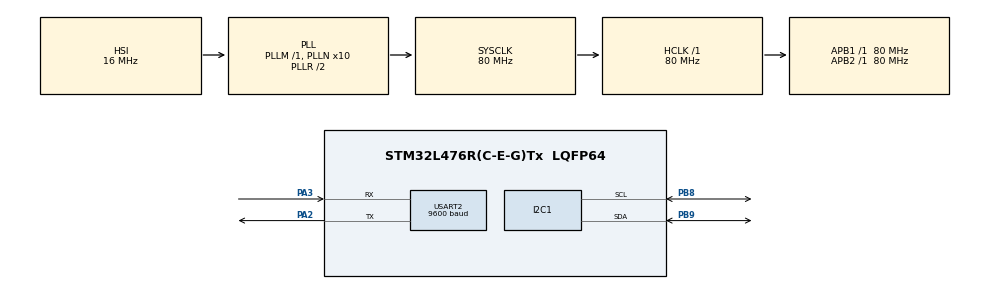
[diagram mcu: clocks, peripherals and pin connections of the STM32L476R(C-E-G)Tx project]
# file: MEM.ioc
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I2C1.Timing=0x10909CEC
Mcu.Family=STM32L4
Mcu.Name=STM32L476R(C-E-G)Tx
Mcu.Package=LQFP64
NVIC.PriorityGroup=NVIC_PRIORITYGROUP_4
PA2.Mode=Asynchronous
PA2.Signal=USART2_TX
PA3.Mode=Asynchronous
PA3.Signal=USART2_RX
PB8.Mode=I2C
PB8.Signal=I2C1_SCL
PB9.Mode=I2C
PB9.Signal=I2C1_SDA
ProjectManager.HeapSize=0x200
ProjectManager.StackSize=0x400
ProjectManager.TargetToolchain=STM32CubeIDE
RCC.ADCFreq_Value=64000000
RCC.AHBFreq_Value=80000000
RCC.APB1Freq_Value=80000000
RCC.APB1TimFreq_Value=80000000
RCC.APB2Freq_Value=80000000
RCC.APB2TimFreq_Value=80000000
RCC.CortexFreq_Value=80000000
RCC.HCLKFreq_Value=80000000
RCC.HSE_VALUE=8000000
RCC.HSI_VALUE=16000000
RCC.LSE_VALUE=32768
RCC.MSI_VALUE=4000000
RCC.PLLN=10
RCC.PLLSourceVirtual=RCC_PLLSOURCE_HSI
RCC.SYSCLKFreq_VALUE=80000000
RCC.SYSCLKSource=RCC_SYSCLKSOURCE_PLLCLK
RCC.USBFreq_Value=64000000
RCC.VCOOutputFreq_Value=160000000
USART2.BaudRate=9600
USART2.VirtualMode-Asynchronous=VM_ASYNC
board=custom

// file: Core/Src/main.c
/* USER CODE BEGIN Header */
/**
  ******************************************************************************
  * @file           : main.c
  * @brief          : Main program body
  ******************************************************************************
  * @attention
  *
  * <h2><center>&copy; Copyright (c) 2021 STMicroelectronics.
  * All rights reserved.</center></h2>
  *
  * This software component is licensed by ST under BSD 3-Clause license,
  * the "License"; You may not use this file except in compliance with the
  * License. You may obtain a copy of the License at:
  *                        opensource.org/licenses/BSD-3-Clause
  *
  ******************************************************************************
  */
/* USER CODE END Header */
#include "main.h"
#include <string.h>
#include <stdlib.h>

/* USER CODE BEGIN PD */
#define LPS22HBW 0xBA
#define LPS22HBR 0xBB
#define CTRL_REG1 0x10
#define CTRL_REG2 0x11
#define FIFO_CTRL 0x13
#define STATUS 0x27
/* USER CODE END PD */

I2C_HandleTypeDef hi2c1;

UART_HandleTypeDef huart2;

void SystemClock_Config(void);
static void MX_GPIO_Init(void);
static void MX_I2C1_Init(void);
static void MX_USART2_UART_Init(void);
int LPS22HB_GetTemperature(void);
uint8_t LPS22HB_GetStatus(void);
void LPS22HB_Init(void);
void UART_SEND_TXT(UART_HandleTypeDef *huart, char buffer[], int m);
void UART_SEND_INT(UART_HandleTypeDef *huart, int i, int m);
void UART_SEND_NL(UART_HandleTypeDef *huart);
/* USER CODE BEGIN PFP */
int tempC;
uint8_t Dat[2];

/* USER CODE END PFP */

int main(void)
{

  /* MCU Configuration--------------------------------------------------------*/

  /* Reset of all peripherals, Initializes the Flash interface and the Systick. */
  HAL_Init();

  /* Configure the system clock */
  SystemClock_Config();

  /* Initialize all configured peripherals */
  MX_GPIO_Init();
  MX_I2C1_Init();
  HAL_I2C_Init(&hi2c1);
  MX_USART2_UART_Init();
  /* USER CODE BEGIN 2 */

  LPS22HB_Init();
  /* USER CODE END 2 */

  /* Infinite loop */
  while (1)
  {
  	UART_SEND_TXT(&huart2, "Temperature = ", 0);
  	tempC = LPS22HB_GetTemperature();
  	UART_SEND_INT(&huart2, tempC, 1);
  	HAL_Delay(1000);
  }
}

void SystemClock_Config(void)
{
  RCC_OscInitTypeDef RCC_OscInitStruct = {0};
  RCC_ClkInitTypeDef RCC_ClkInitStruct = {0};

  /** Configure the main internal regulator output voltage
  */
  if (HAL_PWREx_ControlVoltageScaling(PWR_REGULATOR_VOLTAGE_SCALE1) != HAL_OK)
  {
    Error_Handler();
  }
  /** Initializes the RCC Oscillators according to the specified parameters
  * in the RCC_OscInitTypeDef structure.
  */
  RCC_OscInitStruct.OscillatorType = RCC_OSCILLATORTYPE_HSI;
  RCC_OscInitStruct.HSIState = RCC_HSI_ON;
  RCC_OscInitStruct.HSICalibrationValue = RCC_HSICALIBRATION_DEFAULT;
  RCC_OscInitStruct.PLL.PLLState = RCC_PLL_ON;
  RCC_OscInitStruct.PLL.PLLSource = RCC_PLLSOURCE_HSI;
  RCC_OscInitStruct.PLL.PLLM = 1;
  RCC_OscInitStruct.PLL.PLLN = 10;
  RCC_OscInitStruct.PLL.PLLP = RCC_PLLP_DIV7;
  RCC_OscInitStruct.PLL.PLLQ = RCC_PLLQ_DIV2;
  RCC_OscInitStruct.PLL.PLLR = RCC_PLLR_DIV2;
  if (HAL_RCC_OscConfig(&RCC_OscInitStruct) != HAL_OK)
  {
    Error_Handler();
  }
  /** Initializes the CPU, AHB and APB buses clocks
  */
  RCC_ClkInitStruct.ClockType = RCC_CLOCKTYPE_HCLK|RCC_CLOCKTYPE_SYSCLK
                              |RCC_CLOCKTYPE_PCLK1|RCC_CLOCKTYPE_PCLK2;
  RCC_ClkInitStruct.SYSCLKSource = RCC_SYSCLKSOURCE_PLLCLK;
  RCC_ClkInitStruct.AHBCLKDivider = RCC_SYSCLK_DIV1;
  RCC_ClkInitStruct.APB1CLKDivider = RCC_HCLK_DIV1;
  RCC_ClkInitStruct.APB2CLKDivider = RCC_HCLK_DIV1;

  if (HAL_RCC_ClockConfig(&RCC_ClkInitStruct, FLASH_LATENCY_4) != HAL_OK)
  {
    Error_Handler();
  }
}

static void MX_I2C1_Init(void)
{

  hi2c1.Instance = I2C1;
  hi2c1.Init.Timing = 0x10909CEC;
  hi2c1.Init.OwnAddress1 = 0;
  hi2c1.Init.AddressingMode = I2C_ADDRESSINGMODE_7BIT;
  hi2c1.Init.DualAddressMode = I2C_DUALADDRESS_DISABLE;
  hi2c1.Init.OwnAddress2 = 0;
  hi2c1.Init.OwnAddress2Masks = I2C_OA2_NOMASK;
  hi2c1.Init.GeneralCallMode = I2C_GENERALCALL_DISABLE;
  hi2c1.Init.NoStretchMode = I2C_NOSTRETCH_DISABLE;
  if (HAL_I2C_Init(&hi2c1) != HAL_OK)
  {
    Error_Handler();
  }
  /** Configure Analogue filter
  */
  if (HAL_I2CEx_ConfigAnalogFilter(&hi2c1, I2C_ANALOGFILTER_ENABLE) != HAL_OK)
  {
    Error_Handler();
  }
  /** Configure Digital filter
  */
  if (HAL_I2CEx_ConfigDigitalFilter(&hi2c1, 0) != HAL_OK)
  {
    Error_Handler();
  }

}

static void MX_USART2_UART_Init(void)
{

  huart2.Instance = USART2;
  huart2.Init.BaudRate = 9600;
  huart2.Init.WordLength = UART_WORDLENGTH_8B;
  huart2.Init.StopBits = UART_STOPBITS_1;
  huart2.Init.Parity = UART_PARITY_NONE;
  huart2.Init.Mode = UART_MODE_TX_RX;
  huart2.Init.HwFlowCtl = UART_HWCONTROL_NONE;
  huart2.Init.OverSampling = UART_OVERSAMPLING_16;
  huart2.Init.OneBitSampling = UART_ONE_BIT_SAMPLE_DISABLE;
  huart2.AdvancedInit.AdvFeatureInit = UART_ADVFEATURE_NO_INIT;
  if (HAL_UART_Init(&huart2) != HAL_OK)
  {
    Error_Handler();
  }

}

static void MX_GPIO_Init(void)
{

  /* GPIO Ports Clock Enable */
  __HAL_RCC_GPIOA_CLK_ENABLE();
  __HAL_RCC_GPIOB_CLK_ENABLE();

}

/* USER CODE BEGIN 4 */
//
//	Returns the LPS22HB status
//
uint8_t LPS22HB_GetStatus(void)
{
	uint8_t byte;
	byte = 0x27;
	HAL_I2C_Master_Transmit(&hi2c1, LPS22HBW, &byte, 1, 500);
	HAL_I2C_Master_Receive(&hi2c1, LPS22HBR, Dat, 1, 500);
	return Dat[0];
}

//
// Initializes the LPS22HB
//
void LPS22HB_Init(void)
{
	Dat[0] = CTRL_REG1;
	Dat[1] = 0x3A;
	HAL_I2C_Master_Transmit(&hi2c1, LPS22HBW, Dat, 2, 500);

	Dat[0] = CTRL_REG2;
	Dat[1] = 0x10;
	HAL_I2C_Master_Transmit(&hi2c1, LPS22HBW, Dat, 2, 500);

	Dat[0] = FIFO_CTRL;
	Dat[1] = 0x02;
	HAL_I2C_Master_Transmit(&hi2c1, LPS22HBW, Dat, 2, 500);
}

//
//	Function to get the temperature from LPS22HB
//
int LPS22HB_GetTemperature(void)
{
	uint16_t temperature;
	int temp;

	while ((LPS22HB_GetStatus() & 2) == 0)
		HAL_Delay(100);

	Dat[0] = 0x2B;
	HAL_I2C_Master_Transmit(&hi2c1, LPS22HBW, Dat, 1, 500);
	HAL_I2C_Master_Receive(&hi2c1, LPS22HBR, Dat, 2, 500);
	temperature = (((uint16_t)Dat[1]) << 8) | (uint16_t)Dat[0];
	temp = temperature / 100.0;
	return temp;
}

//
// Send a newline to PC
//
void UART_SEND_NL(UART_HandleTypeDef *huart)
{
	HAL_UART_Transmit(huart, (uint8_t*)"\n\r", 2, HAL_MAX_DELAY);
}
//
// Send an integer number to PC
//
void UART_SEND_INT(UART_HandleTypeDef *huart, int i, int m)
{
	char buffer[10];
	itoa(i, buffer, 10);
	HAL_UART_Transmit(huart, (uint8_t*) buffer, strlen(buffer), HAL_MAX_DELAY);
	if(m == 1)
	{
		HAL_UART_Transmit(huart, (uint8_t*)"\n\r", 2, HAL_MAX_DELAY);
	}
}
//
// Send text to PC
//
void UART_SEND_TXT(UART_HandleTypeDef *huart, char buffer[], int m)
{
	HAL_UART_Transmit(huart, (uint8_t*) buffer, strlen(buffer), HAL_MAX_DELAY);
	if(m == 1)
	{
		HAL_UART_Transmit(huart, (uint8_t*)"\n\r", 2, HAL_MAX_DELAY);
	}
}
/* USER CODE END 4 */

void Error_Handler(void)
{
  __disable_irq();
  while (1)
  {
  }
}

/************************ (C) COPYRIGHT STMicroelectronics *****END OF FILE****/
